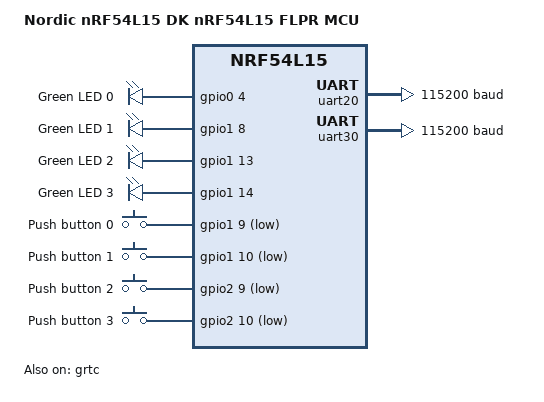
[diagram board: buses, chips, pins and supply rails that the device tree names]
/*
 * Copyright (c) 2024 Nordic Semiconductor ASA
 *
 * SPDX-License-Identifier: LicenseRef-Nordic-5-Clause
 */

/dts-v1/;
#include <nordic/nrf54l15_cpuflpr.dtsi>
#include "nrf54l15pdk_nrf54l15-pinctrl.dtsi"

/ {
	#address-cells = <1>;
	#size-cells = <1>;
	model = "Nordic nRF54L15 DK nRF54L15 FLPR MCU";
	compatible = "nordic,nrf54l15dk_nrf54l15-cpuflpr";

	chosen {
		zephyr,console = &uart20;
		zephyr,code-partition = &cpuflpr_code_partition;
		zephyr,flash = &cpuflpr_rram;
		zephyr,sram = &cpuflpr_sram;
	};

	aliases {
		led0 = &led0;
		led1 = &led1;
		led2 = &led2;
		led3 = &led3;
		sw0 = &button0;
		sw1 = &button1;
		sw2 = &button2;
		sw3 = &button3;
		watchdog0 = &wdt30;
	};

	leds {
		compatible = "gpio-leds";
		led0: led_0 {
			gpios = <&gpio0 4 GPIO_ACTIVE_HIGH>;
			label = "Green LED 0";
		};
		led1: led_1 {
			gpios = <&gpio1 8 GPIO_ACTIVE_HIGH>;
			label = "Green LED 1";
		};
		led2: led_2 {
			gpios = <&gpio1 13 GPIO_ACTIVE_HIGH>;
			label = "Green LED 2";
		};
		led3: led_3 {
			gpios = <&gpio1 14 GPIO_ACTIVE_HIGH>;
			label = "Green LED 3";
		};
	};

	buttons {
		compatible = "gpio-keys";
		button0: button_0 {
			gpios = <&gpio1 9 (GPIO_PULL_UP | GPIO_ACTIVE_LOW)>;
			label = "Push button 0";
		};
		button1: button_1 {
			gpios = <&gpio1 10 (GPIO_PULL_UP | GPIO_ACTIVE_LOW)>;
			label = "Push button 1";
		};
		button2: button_2 {
			gpios = <&gpio2 9 (GPIO_PULL_UP | GPIO_ACTIVE_LOW)>;
			label = "Push button 2";
		};
		button3: button_3 {
			gpios = <&gpio2 10 (GPIO_PULL_UP | GPIO_ACTIVE_LOW)>;
			label = "Push button 3";
		};
	};
};

&cpuflpr_sram {
	status = "okay";
};

&uart20 {
	status = "okay";
	current-speed = <115200>;
	pinctrl-0 = <&uart20_default>;
	pinctrl-1 = <&uart20_sleep>;
	pinctrl-names = "default", "sleep";
};

&uart30 {
	current-speed = <115200>;
	pinctrl-0 = <&uart30_default>;
	pinctrl-1 = <&uart30_sleep>;
	pinctrl-names = "default", "sleep";
};

&gpio0 {
	status = "okay";
};

&gpio1 {
	status = "okay";
};

&gpio2 {
	status = "okay";
};

&gpiote20 {
	status = "okay";
};

&gpiote30 {
	status = "okay";
};

&grtc {
	owned-channels = <3 4>;
	status = "okay";
};

&cpuflpr_rram {
	partitions {
		compatible = "fixed-partitions";
		#address-cells = <1>;
		#size-cells = <1>;

		cpuflpr_code_partition: partition@169000 {
			label = "image-0";
			reg = <0x00169000 DT_SIZE_K(80)>;
		};
	};
};
